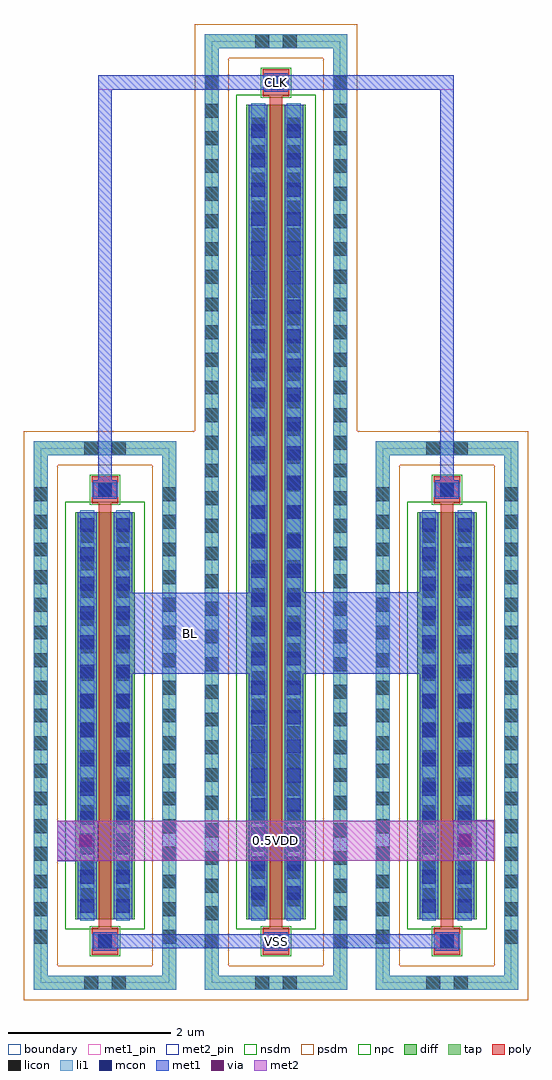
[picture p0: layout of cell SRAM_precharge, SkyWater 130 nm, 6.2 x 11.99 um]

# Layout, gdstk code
import gdstk
lib = gdstk.Library(unit=1e-6, precision=1e-09)
def R(c, l, rs):  # rectangles x0, y0, x1, y1
    for r in rs: c.add(gdstk.rectangle(r[:2], r[2:], *l))
def A(c, l, x, y, w, h, nx, ny, dx, dy):  # array of equal rectangles
    R(c, l, [(x+i*dx, y+j*dy, x+i*dx+w, y+j*dy+h) for i in range(nx) for j in range(ny)])
diff = (65, 20)
tap = (65, 44)
poly = (66, 20)
licon = (66, 44)
li1 = (67, 20)
mcon = (67, 44)
met1_pin = (68, 16)
met1 = (68, 20)
via = (68, 44)
met2_pin = (69, 16)
met2 = (69, 20)
nsdm = (93, 44)
psdm = (94, 20)
npc = (95, 20)
boundary = (235, 4)

sky130_fd_pr__nfet_01v8_ = lib.new_cell('sky130_fd_pr__nfet_01v8_GV8PYF')
R(sky130_fd_pr__nfet_01v8_, diff, [(-0.365,-2.5,0.365,2.5)])
R(sky130_fd_pr__nfet_01v8_, tap, [(-0.875,-3.37,0.875,-3.2), (-0.875,-3.2,-0.705,3.2), (0.705,-3.2,0.875,3.2), (-0.875,3.2,0.875,3.37)])
R(sky130_fd_pr__nfet_01v8_, poly, [(-0.165,-2.94,0.165,-2.61), (-0.075,-2.61,0.075,2.61), (-0.165,2.61,0.165,2.94)])
A(sky130_fd_pr__nfet_01v8_, licon, -0.875, -2.805, 0.17, 0.17, 1, 17, 0, 0.34)
A(sky130_fd_pr__nfet_01v8_, licon, 0.705, -2.805, 0.17, 0.17, 1, 17, 0, 0.34)
A(sky130_fd_pr__nfet_01v8_, licon, -0.305, -2.295, 0.17, 0.17, 1, 14, 0, 0.34)
A(sky130_fd_pr__nfet_01v8_, licon, 0.135, -2.295, 0.17, 0.17, 1, 14, 0, 0.34)
R(sky130_fd_pr__nfet_01v8_, licon, [(-0.255,-3.37,-0.085,-3.2), (0.085,-3.37,0.255,-3.2), (-0.085,-2.86,0.085,-2.69), (-0.085,2.69,0.085,2.86), (-0.255,3.2,-0.085,3.37), (0.085,3.2,0.255,3.37)])
R(sky130_fd_pr__nfet_01v8_, li1, [(-0.875,-3.37,0.875,-3.2), (-0.875,-3.2,-0.705,3.2), (0.705,-3.2,0.875,3.2), (-0.165,-2.86,0.165,-2.69), (-0.305,-2.52,-0.135,2.52), (0.135,-2.52,0.305,2.52), (-0.165,2.69,0.165,2.86), (-0.875,3.2,0.875,3.37)])
A(sky130_fd_pr__nfet_01v8_, mcon, -0.305, -2.425, 0.17, 0.17, 1, 14, 0, 0.36)
A(sky130_fd_pr__nfet_01v8_, mcon, 0.135, -2.425, 0.17, 0.17, 1, 14, 0, 0.36)
R(sky130_fd_pr__nfet_01v8_, mcon, [(-0.085,-2.86,0.085,-2.69), (-0.085,2.69,0.085,2.86)])
R(sky130_fd_pr__nfet_01v8_, met1, [(-0.145,-2.89,0.145,-2.66), (-0.335,-2.5,-0.105,2.5), (0.105,-2.5,0.335,2.5), (-0.145,2.66,0.145,2.89)])
R(sky130_fd_pr__nfet_01v8_, nsdm, [(-0.49,-2.625,0.49,2.625)])
R(sky130_fd_pr__nfet_01v8_, psdm, [(-1,-3.495,1,-3.075), (-1,-3.075,-0.58,3.075), (0.58,-3.075,1,3.075), (-1,3.075,1,3.495)])
R(sky130_fd_pr__nfet_01v8_, npc, [(-0.185,-2.96,0.185,-2.59), (-0.185,2.59,0.185,2.96)])
R(sky130_fd_pr__nfet_01v8_, boundary, [(-0.79,-3.285,0.79,3.285)])

c_sky130_fd_pr__nfet_01v8_ = lib.new_cell('sky130_fd_pr__nfet_01v8_66AFG5')
R(c_sky130_fd_pr__nfet_01v8_, diff, [(-0.365,-5,0.365,5)])
R(c_sky130_fd_pr__nfet_01v8_, tap, [(-0.875,-5.87,0.875,-5.7), (-0.875,-5.7,-0.705,5.7), (0.705,-5.7,0.875,5.7), (-0.875,5.7,0.875,5.87)])
R(c_sky130_fd_pr__nfet_01v8_, poly, [(-0.165,-5.44,0.165,-5.11), (-0.075,-5.11,0.075,5.11), (-0.165,5.11,0.165,5.44)])
A(c_sky130_fd_pr__nfet_01v8_, licon, -0.875, -5.355, 0.17, 0.17, 1, 32, 0, 0.34)
A(c_sky130_fd_pr__nfet_01v8_, licon, 0.705, -5.355, 0.17, 0.17, 1, 32, 0, 0.34)
A(c_sky130_fd_pr__nfet_01v8_, licon, -0.305, -4.845, 0.17, 0.17, 1, 29, 0, 0.34)
A(c_sky130_fd_pr__nfet_01v8_, licon, 0.135, -4.845, 0.17, 0.17, 1, 29, 0, 0.34)
R(c_sky130_fd_pr__nfet_01v8_, licon, [(-0.255,-5.87,-0.085,-5.7), (0.085,-5.87,0.255,-5.7), (-0.085,-5.36,0.085,-5.19), (-0.085,5.19,0.085,5.36), (-0.255,5.7,-0.085,5.87), (0.085,5.7,0.255,5.87)])
R(c_sky130_fd_pr__nfet_01v8_, li1, [(-0.875,-5.87,0.875,-5.7), (-0.875,-5.7,-0.705,5.7), (0.705,-5.7,0.875,5.7), (-0.165,-5.36,0.165,-5.19), (-0.305,-5.02,-0.135,5.02), (0.135,-5.02,0.305,5.02), (-0.165,5.19,0.165,5.36), (-0.875,5.7,0.875,5.87)])
A(c_sky130_fd_pr__nfet_01v8_, mcon, -0.305, -4.765, 0.17, 0.17, 1, 27, 0, 0.36)
A(c_sky130_fd_pr__nfet_01v8_, mcon, 0.135, -4.765, 0.17, 0.17, 1, 27, 0, 0.36)
R(c_sky130_fd_pr__nfet_01v8_, mcon, [(-0.085,-5.36,0.085,-5.19), (-0.085,5.19,0.085,5.36)])
R(c_sky130_fd_pr__nfet_01v8_, met1, [(-0.145,-5.39,0.145,-5.16), (-0.335,-5,-0.105,5), (0.105,-5,0.335,5), (-0.145,5.16,0.145,5.39)])
R(c_sky130_fd_pr__nfet_01v8_, nsdm, [(-0.49,-5.125,0.49,5.125)])
R(c_sky130_fd_pr__nfet_01v8_, psdm, [(-1,-5.995,1,-5.575), (-1,-5.575,-0.58,5.575), (0.58,-5.575,1,5.575), (-1,5.575,1,5.995)])
R(c_sky130_fd_pr__nfet_01v8_, npc, [(-0.185,-5.46,0.185,-5.09), (-0.185,5.09,0.185,5.46)])
R(c_sky130_fd_pr__nfet_01v8_, boundary, [(-0.79,-5.785,0.79,5.785)])

sram_precharge = lib.new_cell('SRAM_precharge')
R(sram_precharge, li1, [(1.495,0.425,2.185,0.595), (3.595,0.425,4.285,0.595)])
R(sram_precharge, met1_pin, [(0.705,0.425,5.075,0.595), (0.925,3.795,2.755,4.795), (0.705,10.975,5.075,11.15)])
R(sram_precharge, met1, [(0.705,0.425,5.075,0.595), (0.2,1.495,0.705,1.995), (5.065,1.5,5.57,2), (0.925,3.795,2.755,4.795), (3.025,3.8,4.855,4.8), (4.905,5.97,5.075,10.975), (0.705,5.975,0.875,10.975), (0.705,10.975,5.075,11.15)])
R(sram_precharge, via, [(0.475,1.67,0.625,1.82), (5.14,1.675,5.29,1.825)])
R(sram_precharge, met2_pin, [(0.2,1.5,5.57,1.995)])
R(sram_precharge, met2, [(0.2,1.5,5.57,1.995)])
R(sram_precharge, psdm, [(1.79,-0.21,1.89,6.78), (3.89,-0.21,3.99,6.78)])
sram_precharge.add(gdstk.Reference(sky130_fd_pr__nfet_01v8_, (4.99,3.285)))
sram_precharge.add(gdstk.Reference(sky130_fd_pr__nfet_01v8_, (0.79,3.285)))
sram_precharge.add(gdstk.Reference(c_sky130_fd_pr__nfet_01v8_, (2.89,5.785)))
sram_precharge.add(gdstk.Label('CLK', (2.89,11.062), layer=68, texttype=16))
sram_precharge.add(gdstk.Label('BL', (1.84,4.295), layer=68, texttype=16))
sram_precharge.add(gdstk.Label('VSS', (2.89,0.51), layer=68, texttype=16))
sram_precharge.add(gdstk.Label('0.5VDD', (2.885,1.747), layer=69, texttype=16))

lib.write_gds('SRAM_precharge.gds')
